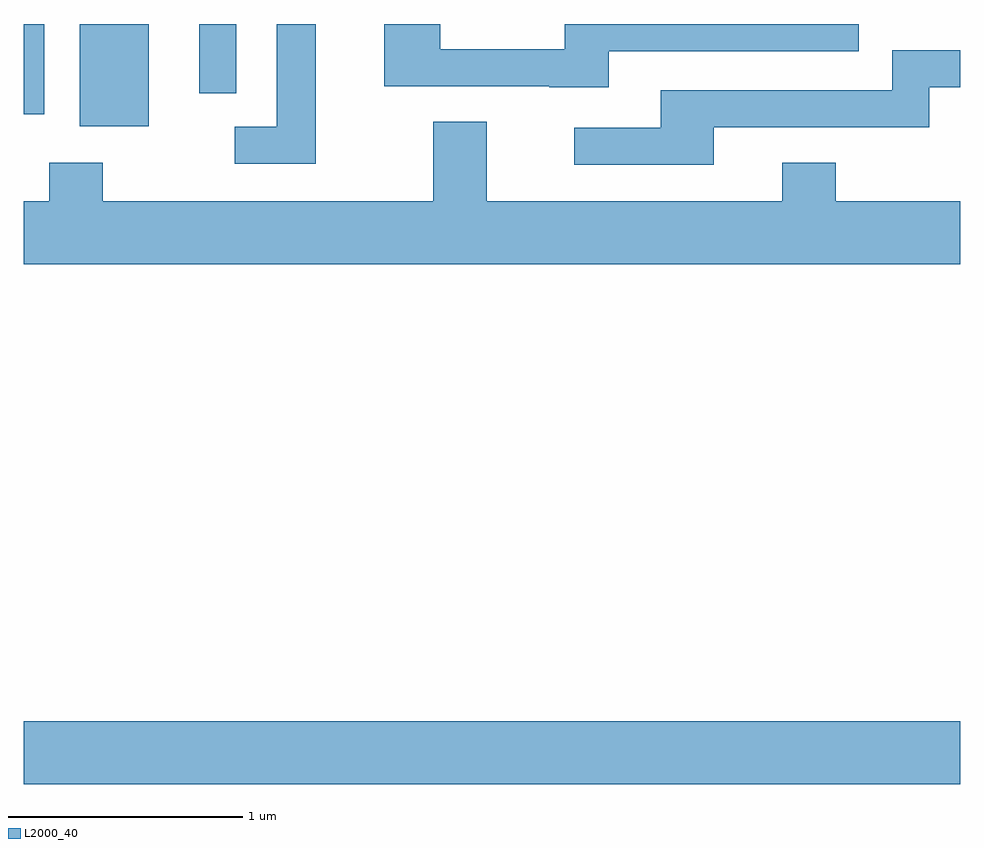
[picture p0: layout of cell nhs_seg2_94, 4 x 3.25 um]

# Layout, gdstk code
import gdstk
lib = gdstk.Library(unit=1e-6, precision=1e-09)
def R(c, l, rs):  # rectangles x0, y0, x1, y1
    for r in rs: c.add(gdstk.rectangle(r[:2], r[2:], *l))
def P(c, l, *ps):  # polygons
    for p in ps: c.add(gdstk.Polygon(p, *l))
L2000_40 = (2000, 40)

nhs_seg2_94 = lib.new_cell('nhs_seg2_94')
R(nhs_seg2_94, L2000_40, [(187.611,1030.556,191.611,1030.824), (187.851,1033.366,188.144,1033.802), (187.611,1033.416,187.699,1033.802), (188.361,1033.507,188.519,1033.802)])
P(nhs_seg2_94, L2000_40, [(188.859,1033.802),(188.691,1033.802),(188.691,1033.364),(188.513,1033.364),(188.513,1033.206),(188.859,1033.206)],
  [(190.109,1033.686),(191.178,1033.686),(191.178,1033.802),(189.921,1033.802),(189.921,1033.694),(189.389,1033.694),(189.389,1033.802),(189.151,1033.802),(189.151,1033.536),(189.855,1033.536),(189.855,1033.531),(190.109,1033.531)],
  [(190.559,1033.361),(191.479,1033.361),(191.479,1033.531),(191.611,1033.531),(191.611,1033.689),(191.321,1033.689),(191.321,1033.519),(190.331,1033.519),(190.331,1033.359),(189.963,1033.359),(189.963,1033.201),(190.559,1033.201)],
  [(191.611,1033.044),(191.079,1033.044),(191.079,1033.209),(190.851,1033.209),(190.851,1033.044),(189.589,1033.044),(189.589,1033.384),(189.361,1033.384),(189.361,1033.044),(187.949,1033.044),(187.949,1033.209),(187.721,1033.209),(187.721,1033.044),(187.611,1033.044),(187.611,1032.776),(191.611,1032.776)])

lib.write_gds('nhs_seg2_94.gds')
